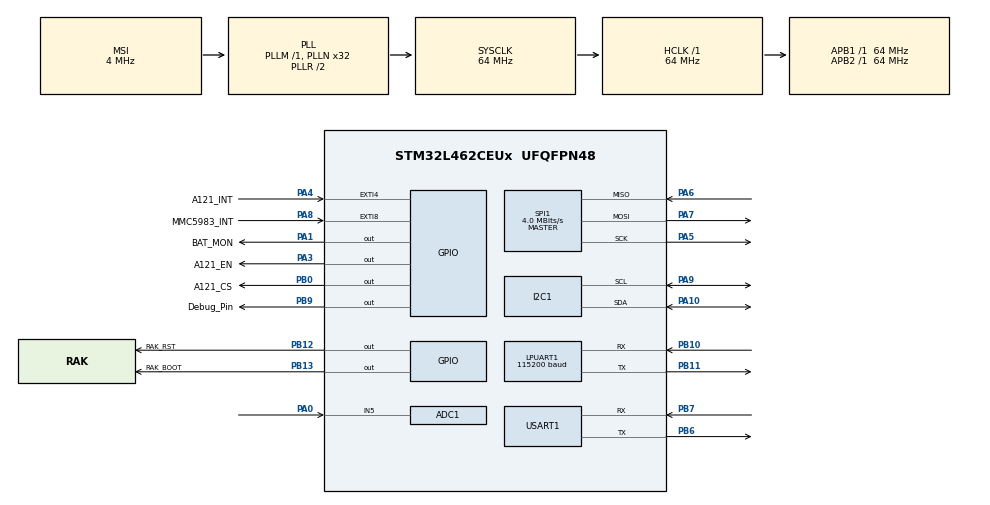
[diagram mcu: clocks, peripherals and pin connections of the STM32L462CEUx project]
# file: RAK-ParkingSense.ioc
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ADC1.Channel-0\#ChannelRegularConversion=ADC_CHANNEL_5
ADC1.NbrOfConversionFlag=1
ADC1.OffsetNumber-0\#ChannelRegularConversion=ADC_OFFSET_NONE
ADC1.Rank-0\#ChannelRegularConversion=1
ADC1.SamplingTime-0\#ChannelRegularConversion=ADC_SAMPLETIME_2CYCLES_5
ADC1.master=1
I2C1.Timing=0x10B17DB5
LPUART1.BaudRate=115200
LPUART1.WordLength=UART_WORDLENGTH_8B
Mcu.Family=STM32L4
Mcu.Name=STM32L462CEUx
Mcu.Package=UFQFPN48
NVIC.EXTI4_IRQn=true\:0\:0\:false\:false\:true\:true\:true\:true
NVIC.EXTI9_5_IRQn=true\:0\:0\:false\:false\:true\:true\:true\:true
NVIC.LPUART1_IRQn=true\:0\:0\:false\:false\:true\:true\:true\:true
NVIC.PriorityGroup=NVIC_PRIORITYGROUP_4
PA0.Signal=ADCx_IN5
PA1.GPIO_Label=BAT_MON
PA1.Signal=GPIO_Output
PA10.Mode=I2C
PA10.Signal=I2C1_SDA
PA13\ (JTMS/SWDIO).Mode=Serial_Wire
PA13\ (JTMS/SWDIO).Signal=SYS_JTMS-SWDIO
PA14\ (JTCK/SWCLK).Mode=Serial_Wire
PA14\ (JTCK/SWCLK).Signal=SYS_JTCK-SWCLK
PA3.GPIO_Label=A121_EN
PA3.Signal=GPIO_Output
PA4.GPIO_Label=A121_INT
PA4.Signal=GPXTI4
PA5.Mode=Full_Duplex_Master
PA5.Signal=SPI1_SCK
PA6.Mode=Full_Duplex_Master
PA6.Signal=SPI1_MISO
PA7.Mode=Full_Duplex_Master
PA7.Signal=SPI1_MOSI
PA8.GPIO_Label=MMC5983_INT
PA8.Signal=GPXTI8
PA9.Mode=I2C
PA9.Signal=I2C1_SCL
PB0.GPIO_Label=A121_CS
PB0.Signal=GPIO_Output
PB10.Mode=Asynchronous
PB10.Signal=LPUART1_RX
PB11.Mode=Asynchronous
PB11.Signal=LPUART1_TX
PB12.GPIO_Label=RAK_RST
PB12.Signal=GPIO_Output
PB13.GPIO_Label=RAK_BOOT
PB13.Signal=GPIO_Output
PB6.Mode=Asynchronous
PB6.Signal=USART1_TX
PB7.Mode=Asynchronous
PB7.Signal=USART1_RX
PB9.GPIO_Label=Debug_Pin
PB9.Signal=GPIO_Output
PH0-OSC_IN\ (PH0).Mode=HSE-External-Clock-Source
PH0-OSC_IN\ (PH0).Signal=RCC_OSC_IN
ProjectManager.HeapSize=0x200
ProjectManager.StackSize=0x400
ProjectManager.TargetToolchain=STM32CubeIDE
RCC.ADCFreq_Value=32000000
RCC.AHBFreq_Value=64000000
RCC.APB1Freq_Value=64000000
RCC.APB1TimFreq_Value=64000000
RCC.APB2Freq_Value=64000000
RCC.APB2TimFreq_Value=64000000
RCC.CortexFreq_Value=64000000
RCC.HCLKFreq_Value=64000000
RCC.HSE_VALUE=25000000
RCC.HSI48_VALUE=48000000
RCC.HSI_VALUE=16000000
RCC.LSE_VALUE=32768
RCC.MSI_VALUE=4000000
RCC.PLLN=32
RCC.PLLSAI1N=16
RCC.SYSCLKFreq_VALUE=64000000
RCC.SYSCLKSource=RCC_SYSCLKSOURCE_PLLCLK
RCC.USBFreq_Value=32000000
RCC.VCOOutputFreq_Value=128000000
SH.ADCx_IN5.0=ADC1_IN5,IN5-Single-Ended
SPI1.BaudRatePrescaler=SPI_BAUDRATEPRESCALER_16
SPI1.CalculateBaudRate=4.0 MBits/s
SPI1.DataSize=SPI_DATASIZE_8BIT
SPI1.Direction=SPI_DIRECTION_2LINES
SPI1.Mode=SPI_MODE_MASTER
SPI1.NSSPMode=SPI_NSS_PULSE_DISABLE
SPI1.VirtualType=VM_MASTER
USART1.VirtualMode-Asynchronous=VM_ASYNC
board=custom

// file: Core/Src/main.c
/* USER CODE BEGIN Header */
/**
  ******************************************************************************
  * @file           : main.c
  * @brief          : Main program body
  ******************************************************************************
  * @attention
  *
  * Copyright (c) 2026 STMicroelectronics.
  * All rights reserved.
  *
  * This software is licensed under terms that can be found in the LICENSE file
  * in the root directory of this software component.
  * If no LICENSE file comes with this software, it is provided AS-IS.
  *
  ******************************************************************************
  */
/* USER CODE END Header */
#include "main.h"
#include "adc.h"
#include "i2c.h"
#include "usart.h"
#include "spi.h"
#include "gpio.h"

/* USER CODE BEGIN Includes */
#include "RAK.h"
#include "battery_adc.h"
#include "car_detector.h"
#include "log.h"
#include <stdio.h>
/* USER CODE END Includes */

/* USER CODE BEGIN PV */
static RAK_Handle rak;

static uint32_t next_send_ms = 0;

/* Battery-efficient schedule: sample only in a window before send */
#define SEND_INTERVAL_MS    60000u   /* 1 min between sends */
#define WINDOW_MS           30000u   /* sample sensors in last 30 s before send */
#define WINDOW_WARMUP_MS    2000u    /* warmup inside window before counting (baseline/radar settle) */
#define SAMPLE_INTERVAL_MS  100u     /* record car state every 100 ms for majority vote */
#define IDLE_LOOP_MS        500u     /* when idle, service RAK then sleep 500 ms */

/* Majority vote: count car_present over the window; send 1 if > 50% */
static uint32_t window_car_count;
static uint32_t window_sample_count;
static uint32_t window_last_sample_ms;

/* Battery: Li-ion 3000 mV empty, 4200 mV full -> 0..100% */
#define BAT_MV_EMPTY  3000u
#define BAT_MV_FULL   4200u

static uint8_t battery_mV_to_percent(uint32_t bat_mV)
{
    if (bat_mV <= BAT_MV_EMPTY) return 0;
    if (bat_mV >= BAT_MV_FULL) return 100;
    return (uint8_t)((bat_mV - BAT_MV_EMPTY) * 100u / (BAT_MV_FULL - BAT_MV_EMPTY));
}

static CarDetector_t g_cd;
/* USER CODE END PV */

void SystemClock_Config(void);

/* USER CODE BEGIN 0 */
int _write(int file, char *ptr, int len) {
	Log_Write(ptr, len);
	return len;
}
/* USER CODE END 0 */

int main(void)
{

  /* MCU Configuration--------------------------------------------------------*/

  /* Reset of all peripherals, Initializes the Flash interface and the Systick. */
  HAL_Init();

  /* Configure the system clock */
  SystemClock_Config();

  /* Initialize all configured peripherals */
  MX_GPIO_Init();
  MX_I2C1_Init();
  MX_LPUART1_UART_Init();
  MX_SPI1_Init();
  MX_ADC1_Init();
  MX_USART1_UART_Init();
  /* USER CODE BEGIN 2 */
  BAT_ADC_Init(&hadc1);

  Log_Init(&huart1);
  Log_Enable();

  RAK_Cfg cfg = { .huart = &hlpuart1 };
  RAK_Init(&rak, &cfg);

  next_send_ms = HAL_GetTick() + SEND_INTERVAL_MS;
  window_car_count = 0;
  window_sample_count = 0;
  window_last_sample_ms = 0;

  printf("Fusion car detector start\r\n");

    MagneticSensorConfig_t mag_cfg;
    MagneticSensor_DefaultConfig(&mag_cfg);

    CarDetectorConfig_t fcfg;
    CarDetector_DefaultConfig(&fcfg);

    if (!CarDetector_Init(&g_cd, &hi2c1, MMC5983_I2C_ADDR_8BIT, 100,
  		  &mag_cfg, &fcfg, RADAR_PRESET_SHORT_RANGE))
    {
  	  printf("CarDetector_Init FAIL\r\n");
    }

    uint32_t last_print = 0;

  /* USER CODE END 2 */

  /* Infinite loop */
	while (1) {

		/* USER CODE BEGIN 3 */

		uint32_t now = HAL_GetTick();
		int32_t time_until_send = (int32_t)(next_send_ms - now);
		bool in_window = (time_until_send > 0 && time_until_send <= (int32_t)WINDOW_MS);

		/* Idle: before sampling window — only service RAK, no sensor reads */
		if (!in_window) {
			RAK_Task(&rak);

			/* Send time reached */
			if (time_until_send <= 0) {
				uint16_t bat_raw = 0;
				uint32_t bat_mV = BAT_ADC_Read_mV(&bat_raw);
				uint8_t battery_pct = battery_mV_to_percent(bat_mV);

				if (RAK_IsJoined(&rak)) {
					/* Use majority vote over the last window (or 0 if no samples) */
					uint8_t car = (window_sample_count > 0 && window_car_count > window_sample_count / 2) ? 1 : 0;
					RAK_Status st = RAK_SendStatus(&rak, car, battery_pct);

					if (st == RAK_OK) {
						next_send_ms += SEND_INTERVAL_MS;
					} else {
						next_send_ms += 5000;
					}
				} else {
					next_send_ms += SEND_INTERVAL_MS;
				}
				window_car_count = 0;
				window_sample_count = 0;
				window_last_sample_ms = 0;
			} else {
				HAL_Delay(IDLE_LOOP_MS);
			}
			continue;
		}

		/* In sampling window: run sensors */
		RAK_Task(&rak);
		CarDetector_Tick(&g_cd, now);

		/* Warmup: run sensors a few seconds before counting (baseline/radar settle) */
		int32_t time_since_window_start = (int32_t)(now - (next_send_ms - WINDOW_MS));
		bool warmup_done = (time_since_window_start >= (int32_t)WINDOW_WARMUP_MS);

		if (warmup_done && (now - window_last_sample_ms >= SAMPLE_INTERVAL_MS)) {
			window_last_sample_ms = now;
			window_sample_count++;
			if (CarDetector_GetCarPresent(&g_cd)) {
				window_car_count++;
			}
		}

		/* Debug print only during window, every 200 ms */
		if (now - last_print >= 200) {
			last_print = now;
			MagneticSensorSample_t ms;
			(void) MagneticSensor_GetLatest(&g_cd.mag, &ms);
			bool mag_detected = (MagneticSensor_GetCarPresent(&g_cd.mag) != 0);
			bool rad_detected = g_cd.radar.car_detected;
			bool car_confirmed = CarDetector_GetCarPresent(&g_cd);
			printf("t=%lu mag=%u rad=%u CONFIRMED=%u | samples=%lu car_count=%lu | radRaw=%u intra=%ld dist=%ldmm\r\n",
					(unsigned long) now,
					(unsigned) mag_detected,
					(unsigned) rad_detected,
					(unsigned) car_confirmed,
					(unsigned long) window_sample_count,
					(unsigned long) window_car_count,
					(unsigned) g_cd.radar.presence_detected,
					(long) g_cd.radar.intra_score_x1000,
					(long) g_cd.radar.distance_mm);
		}

		HAL_Delay(5);
	}
  /* USER CODE END 3 */
}

void SystemClock_Config(void)
{
  RCC_OscInitTypeDef RCC_OscInitStruct = {0};
  RCC_ClkInitTypeDef RCC_ClkInitStruct = {0};

  /** Configure the main internal regulator output voltage
  */
  if (HAL_PWREx_ControlVoltageScaling(PWR_REGULATOR_VOLTAGE_SCALE1) != HAL_OK)
  {
    Error_Handler();
  }

  /** Initializes the RCC Oscillators according to the specified parameters
  * in the RCC_OscInitTypeDef structure.
  */
  RCC_OscInitStruct.OscillatorType = RCC_OSCILLATORTYPE_MSI;
  RCC_OscInitStruct.MSIState = RCC_MSI_ON;
  RCC_OscInitStruct.MSICalibrationValue = 0;
  RCC_OscInitStruct.MSIClockRange = RCC_MSIRANGE_6;
  RCC_OscInitStruct.PLL.PLLState = RCC_PLL_ON;
  RCC_OscInitStruct.PLL.PLLSource = RCC_PLLSOURCE_MSI;
  RCC_OscInitStruct.PLL.PLLM = 1;
  RCC_OscInitStruct.PLL.PLLN = 32;
  RCC_OscInitStruct.PLL.PLLP = RCC_PLLP_DIV7;
  RCC_OscInitStruct.PLL.PLLQ = RCC_PLLQ_DIV2;
  RCC_OscInitStruct.PLL.PLLR = RCC_PLLR_DIV2;
  if (HAL_RCC_OscConfig(&RCC_OscInitStruct) != HAL_OK)
  {
    Error_Handler();
  }

  /** Initializes the CPU, AHB and APB buses clocks
  */
  RCC_ClkInitStruct.ClockType = RCC_CLOCKTYPE_HCLK|RCC_CLOCKTYPE_SYSCLK
                              |RCC_CLOCKTYPE_PCLK1|RCC_CLOCKTYPE_PCLK2;
  RCC_ClkInitStruct.SYSCLKSource = RCC_SYSCLKSOURCE_PLLCLK;
  RCC_ClkInitStruct.AHBCLKDivider = RCC_SYSCLK_DIV1;
  RCC_ClkInitStruct.APB1CLKDivider = RCC_HCLK_DIV1;
  RCC_ClkInitStruct.APB2CLKDivider = RCC_HCLK_DIV1;

  if (HAL_RCC_ClockConfig(&RCC_ClkInitStruct, FLASH_LATENCY_3) != HAL_OK)
  {
    Error_Handler();
  }
}

/* USER CODE BEGIN 4 */
void HAL_UART_RxCpltCallback(UART_HandleTypeDef *huart)
{
    if (huart->Instance == LPUART1)
    {
        RAK_OnUartRxCplt(&rak);
    }
}
/* USER CODE END 4 */

void Error_Handler(void)
{
  __disable_irq();
  while (1)
  {
  }
}
